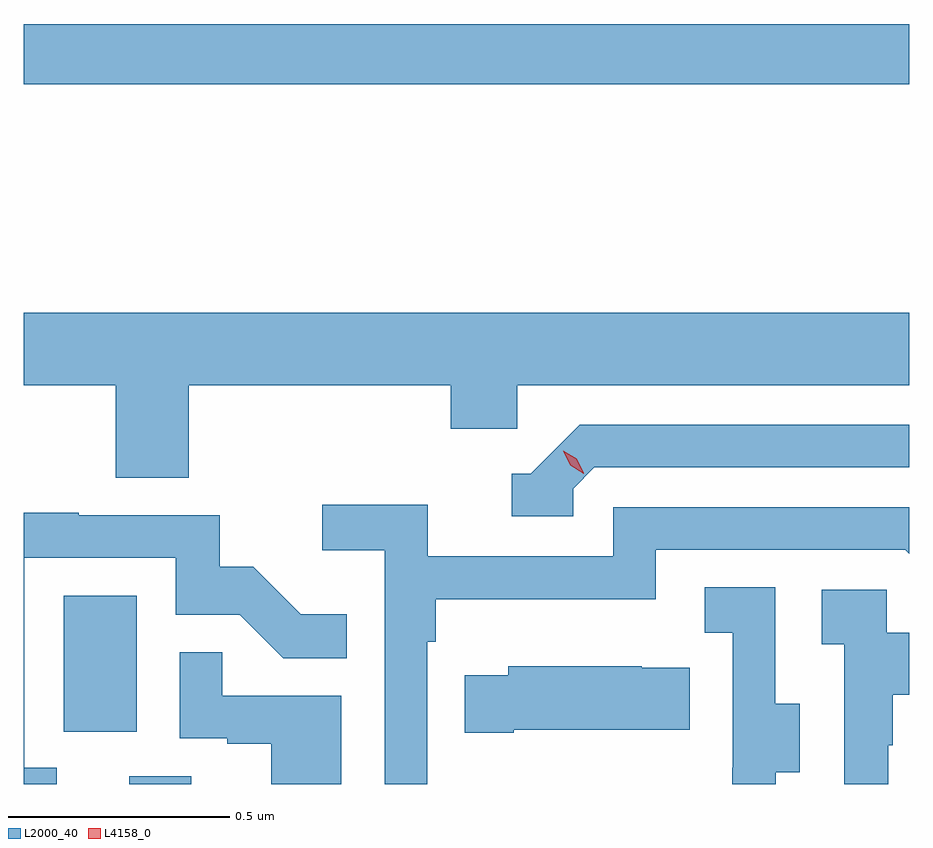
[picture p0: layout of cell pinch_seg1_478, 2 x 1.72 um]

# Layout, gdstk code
import gdstk
lib = gdstk.Library(unit=1e-6, precision=1e-09)
def R(c, l, rs):  # rectangles x0, y0, x1, y1
    for r in rs: c.add(gdstk.rectangle(r[:2], r[2:], *l))
def P(c, l, *ps):  # polygons
    for p in ps: c.add(gdstk.Polygon(p, *l))
L2000_40 = (2000, 40)
L4158_0 = (4158, 0)

pinch_seg1_478 = lib.new_cell('pinch_seg1_478')
R(pinch_seg1_478, L2000_40, [(1008.845,513.536,1008.985,513.554), (1008.698,513.654,1008.862,513.961), (1008.607,515.116,1010.607,515.252)])
P(pinch_seg1_478, L2000_40, [(1008.98,514.436),(1009.571,514.436),(1009.571,514.338),(1009.722,514.338),(1009.722,514.436),(1010.607,514.436),(1010.607,514.6),(1008.607,514.6),(1008.607,514.436),(1008.815,514.436),(1008.815,514.228),(1008.98,514.228)],
  [(1009.848,514.203),(1009.896,514.251),(1010.607,514.251),(1010.607,514.347),(1009.863,514.347),(1009.752,514.236),(1009.709,514.236),(1009.709,514.14),(1009.848,514.14)],
  [(1009.518,513.857),(1009.538,513.857),(1009.538,513.953),(1010.034,513.953),(1010.034,514.065),(1010.598,514.065),(1010.607,514.056),(1010.607,514.161),(1009.938,514.161),(1009.938,514.05),(1009.52,514.05),(1009.52,514.166),(1009.281,514.166),(1009.281,514.064),(1009.422,514.064),(1009.422,513.536),(1009.518,513.536)],
  [(1008.682,513.573),(1008.609,513.573),(1008.609,514.047),(1008.951,514.047),(1008.951,513.918),(1009.095,513.918),(1009.193,513.82),(1009.337,513.82),(1009.337,513.919),(1009.233,513.919),(1009.126,514.026),(1009.05,514.026),(1009.05,514.143),(1008.731,514.143),(1008.731,514.148),(1008.607,514.148),(1008.607,513.536),(1008.682,513.536)],
  [(1010.305,513.562),(1010.359,513.562),(1010.359,513.717),(1010.304,513.717),(1010.304,513.98),(1010.145,513.98),(1010.145,513.877),(1010.208,513.877),(1010.208,513.573),(1010.207,513.573),(1010.207,513.536),(1010.305,513.536)],
  [(1010.559,513.623),(1010.569,513.623),(1010.569,513.737),(1010.607,513.737),(1010.607,513.877),(1010.556,513.877),(1010.556,513.975),(1010.409,513.975),(1010.409,513.851),(1010.46,513.851),(1010.46,513.536),(1010.559,513.536)],
  [(1009.324,513.735),(1009.055,513.735),(1009.055,513.833),(1008.96,513.833),(1008.96,513.639),(1009.067,513.639),(1009.067,513.627),(1009.166,513.627),(1009.166,513.536),(1009.324,513.536)],
  [(1009.714,513.659),(1010.111,513.659),(1010.111,513.799),(1010.003,513.799),(1010.003,513.802),(1009.701,513.802),(1009.701,513.781),(1009.603,513.781),(1009.603,513.652),(1009.714,513.652)])
P(pinch_seg1_478, L4158_0, [(1009.872,514.237),(1009.841,514.256),(1009.825,514.288),(1009.825,514.289),(1009.825,514.289),(1009.856,514.27),(1009.872,514.238),(1009.872,514.237)])

lib.write_gds('pinch_seg1_478.gds')
